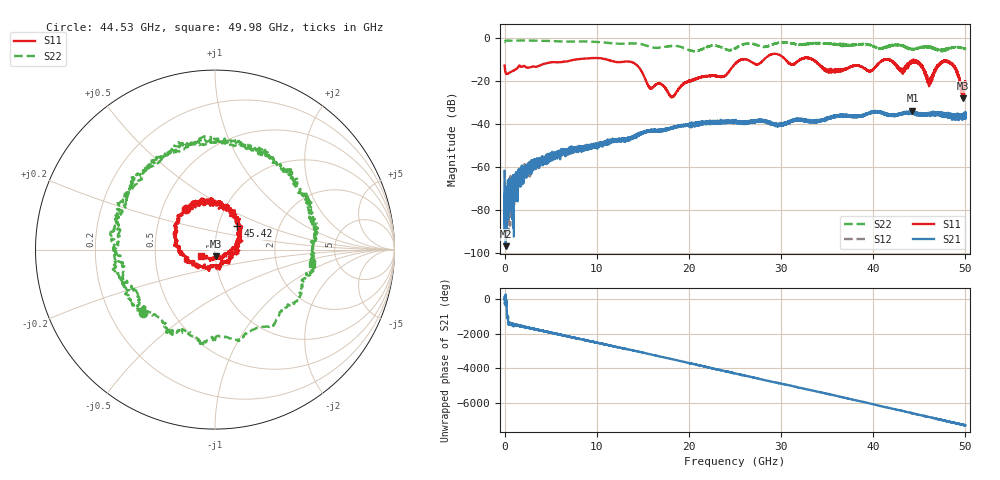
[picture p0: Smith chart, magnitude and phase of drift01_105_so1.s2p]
!Created with skrf (http://scikit-rf.org).
# Hz S RI R 50.0
!freq ReS11 ImS11 ReS21 ImS21 ReS12 ImS12 ReS22 ImS22
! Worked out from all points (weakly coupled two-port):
!   10001 points, 300 kHz to 50 GHz, reference 50 ohm
!   highest |S21| = -33.92 dB at 44.26 GHz (marker M1); lowest = -96.8 dB at 130.3 MHz (marker M2)
!   lowest |S11| = -28.2 dB at 49.7 GHz (marker M3), VSWR 1.08, Z = 50.5 - j3.88 ohm
!   |S11| at or under -10 dB: start of sweep to 8.082 GHz; 10.92 GHz to 26.01 GHz (15.09 GHz wide, 81.8 % of centre); 41.57 GHz to end of sweep (the widest 3 of 15)
!   |S22| runs from -6.4 to -1.4 dB; largest |S21 - S12| = 0.0046
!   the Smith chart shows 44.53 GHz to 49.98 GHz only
!   S11 on the Smith chart (normalised r, x): 44.53 GHz: 0.66, +0.33; 45.42 GHz: 1.24, +0.33; 49.98 GHz: 0.85, -0.06
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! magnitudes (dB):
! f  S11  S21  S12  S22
! 300 kHz  -13.0  -62.1  -61.3  -2.1
! 130.3 MHz  -16.6  -96.8  -78.1  -1.5
! 265.3 MHz  -16.9  -75.8  -77.4  -1.4
! 2.92 GHz  -13.6  -60.8  -57.2  -1.4
! 8.335 GHz  -9.9  -51.8  -50.4  -1.8
! 13.8 GHz  -11.4  -46.6  -46.6  -2.7
! 15.75 GHz  -23.3  -43.2  -43.2  -4.2
! 16.67 GHz  -21.4  -43.0  -43.0  -4.8
! 18.22 GHz  -27.4  -42.0  -42.0  -3.9
! 25 GHz  -12.2  -39.4  -39.3  -5.1
! 33.34 GHz  -10.0  -39.2  -38.6  -2.7
! 35.38 GHz  -15.2  -37.1  -37.4  -3.0
! 41.67 GHz  -10.3  -35.8  -35.8  -4.1
! 43.08 GHz  -14.8  -35.3  -35.2  -3.7
! 44.26 GHz  -11.7  -33.9  -34.8  -5.4
! 44.53 GHz  -11.0  -35.3  -35.3  -5.4
! 45.42 GHz  -14.9  -35.8  -36.0  -4.4
! 46.14 GHz  -20.6  -35.9  -35.1  -4.3
! 48.21 GHz  -11.4  -36.0  -36.5  -4.9
! 49.7 GHz  -28.2  -36.6  -36.3  -4.9
! 49.98 GHz  -21.2  -36.1  -36.3  -5.3
! 50 GHz  -21.1  -36.4  -37.5  -5.4
